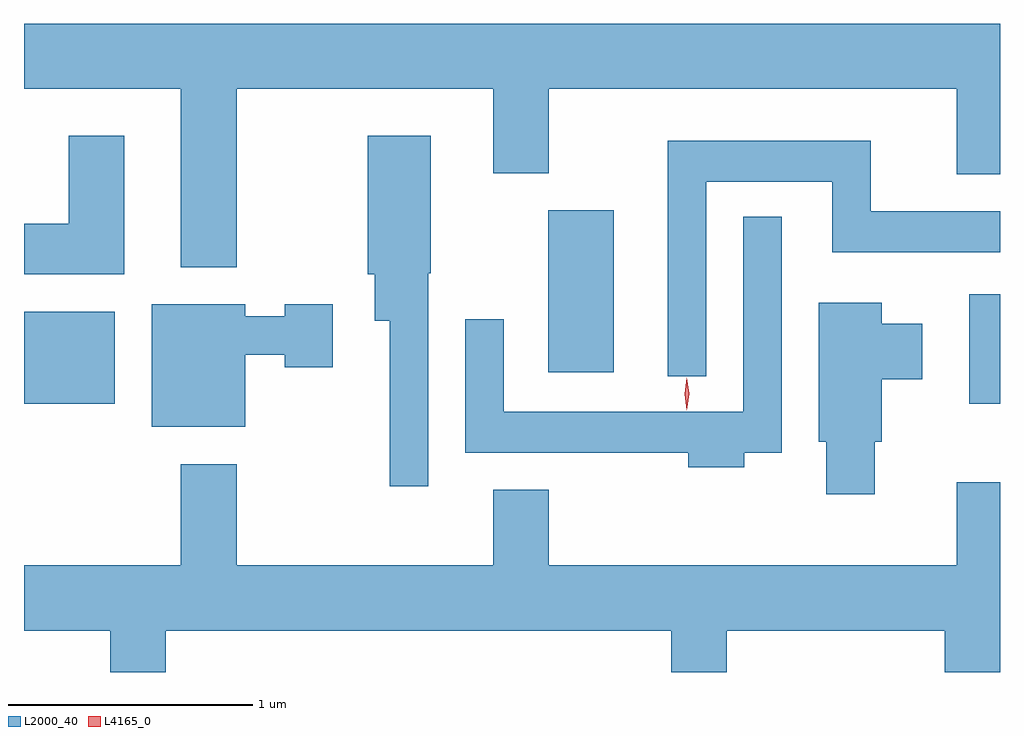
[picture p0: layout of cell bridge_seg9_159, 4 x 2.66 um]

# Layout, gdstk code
import gdstk
lib = gdstk.Library(unit=1e-6, precision=1e-09)
def R(c, l, rs):  # rectangles x0, y0, x1, y1
    for r in rs: c.add(gdstk.rectangle(r[:2], r[2:], *l))
def P(c, l, *ps):  # polygons
    for p in ps: c.add(gdstk.Polygon(p, *l))
L2000_40 = (2000, 40)
L4165_0 = (4165, 0)

bridge_seg9_159 = lib.new_cell('bridge_seg9_159')
R(bridge_seg9_159, L2000_40, [(1436.708,2072.666,1437.079,2073.044), (1440.581,2072.666,1440.708,2073.114), (1438.856,2072.796,1439.124,2073.459)])
P(bridge_seg9_159, L2000_40, [(1437.579,2073.956),(1438.631,2073.956),(1438.631,2073.611),(1438.859,2073.611),(1438.859,2073.956),(1440.531,2073.956),(1440.531,2073.606),(1440.708,2073.606),(1440.708,2074.224),(1436.708,2074.224),(1436.708,2073.956),(1437.351,2073.956),(1437.351,2073.226),(1437.579,2073.226)],
  [(1437.119,2073.764),(1436.891,2073.764),(1436.891,2073.404),(1436.708,2073.404),(1436.708,2073.196),(1437.119,2073.196)],
  [(1438.364,2073.2),(1438.374,2073.2),(1438.374,2073.764),(1438.116,2073.764),(1438.116,2073.196),(1438.146,2073.196),(1438.146,2073.006),(1438.206,2073.006),(1438.206,2072.327),(1438.364,2072.327)],
  [(1439.504,2073.576),(1440.021,2073.576),(1440.021,2073.286),(1440.708,2073.286),(1440.708,2073.454),(1440.179,2073.454),(1440.179,2073.744),(1439.346,2073.744),(1439.346,2072.778),(1439.504,2072.778)],
  [(1439.659,2072.466),(1439.814,2072.466),(1439.814,2073.433),(1439.656,2073.433),(1439.656,2072.634),(1438.674,2072.634),(1438.674,2073.012),(1438.516,2073.012),(1438.516,2072.466),(1439.431,2072.466),(1439.431,2072.406),(1439.659,2072.406)],
  [(1440.194,2072.511),(1440.224,2072.511),(1440.224,2072.766),(1440.389,2072.766),(1440.389,2072.994),(1440.224,2072.994),(1440.224,2073.079),(1439.966,2073.079),(1439.966,2072.511),(1439.996,2072.511),(1439.996,2072.296),(1440.194,2072.296)],
  [(1437.614,2072.866),(1437.776,2072.866),(1437.776,2072.816),(1437.974,2072.816),(1437.974,2073.074),(1437.776,2073.074),(1437.776,2073.024),(1437.614,2073.024),(1437.614,2073.074),(1437.231,2073.074),(1437.231,2072.571),(1437.614,2072.571)],
  [(1437.289,2071.736),(1439.361,2071.736),(1439.361,2071.565),(1439.589,2071.565),(1439.589,2071.736),(1440.481,2071.736),(1440.481,2071.565),(1440.708,2071.565),(1440.708,2072.344),(1440.531,2072.344),(1440.531,2072.004),(1438.859,2072.004),(1438.859,2072.314),(1438.631,2072.314),(1438.631,2072.004),(1437.579,2072.004),(1437.579,2072.419),(1437.351,2072.419),(1437.351,2072.004),(1436.708,2072.004),(1436.708,2071.736),(1437.061,2071.736),(1437.061,2071.565),(1437.289,2071.565)])
P(bridge_seg9_159, L4165_0, [(1439.425,2072.639),(1439.424,2072.64),(1439.415,2072.706),(1439.424,2072.772),(1439.425,2072.773),(1439.425,2072.772),(1439.435,2072.706),(1439.425,2072.64)])

lib.write_gds('bridge_seg9_159.gds')
